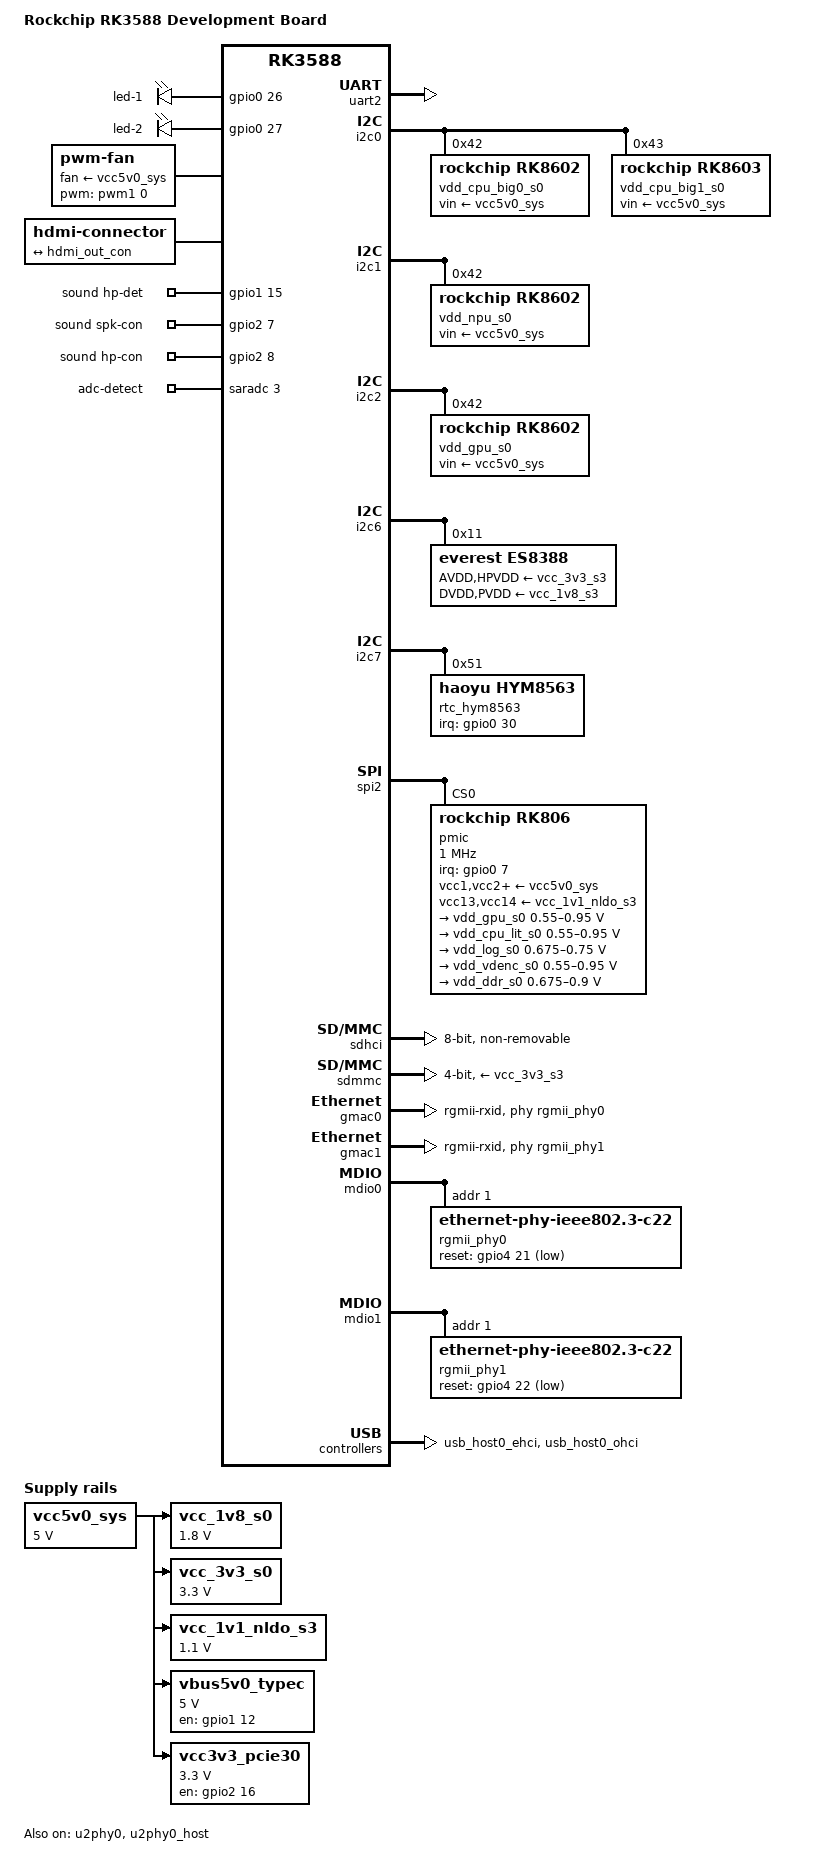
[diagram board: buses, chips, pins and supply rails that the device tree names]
// SPDX-License-Identifier: (GPL-2.0+ OR MIT)
/dts-v1/;

#include "../include/rk3588-soc.dtsi"

/ {
    model = "Rockchip RK3588 Development Board";
    compatible = "rockchip,rk3588-evb", "rockchip,rk3588";

    chosen {
        bootargs = "console=ttyS2,1500000n8 rw root=PARTUUID=614e0000-0000 rootfstype=ext4 rootwait";
    };

    vcc5v0_sys: vcc5v0-sys-regulator {
        compatible = "regulator-fixed";
        regulator-name = "vcc5v0_sys";
        regulator-always-on;
        regulator-boot-on;
        regulator-min-microvolt = <5000000>;
        regulator-max-microvolt = <5000000>;
    };

    vcc_1v8_s0: vcc-1v8-s0-regulator {
        compatible = "regulator-fixed";
        regulator-name = "vcc_1v8_s0";
        regulator-always-on;
        regulator-boot-on;
        regulator-min-microvolt = <1800000>;
        regulator-max-microvolt = <1800000>;
        vin-supply = <&vcc5v0_sys>;
    };

    vcc_3v3_s0: vcc-3v3-s0-regulator {
        compatible = "regulator-fixed";
        regulator-name = "vcc_3v3_s0";
        regulator-always-on;
        regulator-boot-on;
        regulator-min-microvolt = <3300000>;
        regulator-max-microvolt = <3300000>;
        vin-supply = <&vcc5v0_sys>;
    };

    vcc_1v1_nldo_s3: vcc-1v1-nldo-s3-regulator {
        compatible = "regulator-fixed";
        regulator-name = "vcc_1v1_nldo_s3";
        regulator-always-on;
        regulator-boot-on;
        regulator-min-microvolt = <1100000>;
        regulator-max-microvolt = <1100000>;
        vin-supply = <&vcc5v0_sys>;
    };

    vbus5v0_typec: vbus5v0-typec-regulator {
        compatible = "regulator-fixed";
        regulator-name = "vbus5v0_typec";
        regulator-min-microvolt = <5000000>;
        regulator-max-microvolt = <5000000>;
        enable-active-high;
        gpio = <&gpio1 12 0>;
        vin-supply = <&vcc5v0_sys>;
        pinctrl-names = "default";
        pinctrl-0 = <&typec5v_pwren>;
    };

    vcc3v3_pcie30: vcc3v3-pcie30-regulator {
        compatible = "regulator-fixed";
        regulator-name = "vcc3v3_pcie30";
        regulator-min-microvolt = <3300000>;
        regulator-max-microvolt = <3300000>;
        enable-active-high;
        gpios = <&gpio2 16 0>;
        startup-delay-us = <5000>;
        vin-supply = <&vcc5v0_sys>;
    };

    leds {
        compatible = "gpio-leds";
        pinctrl-names = "default";
        pinctrl-0 = <&leds_gpio>;

        led-1 {
            color = <3>; // LED_COLOR_ID_GREEN
            function = "status";
            gpios = <&gpio0 26 0>;
            linux,default-trigger = "heartbeat";
        };

        led-2 {
            color = <1>; // LED_COLOR_ID_RED
            function = "status";
            gpios = <&gpio0 27 0>;
            linux,default-trigger = "mmc0";
        };
    };

    fan: pwm-fan {
        compatible = "pwm-fan";
        #cooling-cells = <2>;
        fan-supply = <&vcc5v0_sys>;
        pwms = <&pwm1 0 50000 0>;
        cooling-levels = <0 102 170 230>;
    };

    hdmi-con {
        compatible = "hdmi-connector";
        type = "a";

        port {
            hdmi_con_in: endpoint {
                remote-endpoint = <&hdmi_out_con>;
            };
        };
    };

    sound {
        compatible = "rockchip,multicodecs-card";
        card-name = "rockchip-rk3588";
        hp-det-gpio = <&gpio1 15 0>;
        io-channels = <&saradc 3>;
        io-channel-names = "adc-detect";
        keyup-threshold-microvolt = <1800000>;
        poll-interval = <100>;
        spk-con-gpio = <&gpio2 7 0>;
        hp-con-gpio = <&gpio2 8 0>;

        rockchip,cpu = <&i2s0_8ch>;
        rockchip,codec = <&es8388>;
        rockchip,audio-routing =
            "Headphone", "LOUT1",
            "Headphone", "ROUT1",
            "Speaker", "LOUT2",
            "Speaker", "ROUT2",
            "Headphone", "Headphone Power",
            "Headphone", "Headphone Power",
            "Speaker", "Speaker Power",
            "Speaker", "Speaker Power",
            "LINPUT1", "Main Mic",
            "LINPUT2", "Main Mic",
            "RINPUT1", "Headset Mic",
            "RINPUT2", "Headset Mic";
        pinctrl-names = "default";
        pinctrl-0 = <&hp_detect>;

        play-fallback-cpu-dai = <&i2s2_2ch>;
        record-fallback-cpu-dai = <&i2s8_8ch>;
    };

    test {
        compatible = "rockchip,test";
        status = "okay";
    };
};

// Enable and configure UART2 for console
&uart2 {
    pinctrl-0 = <&uart2m1_xfer>;
    status = "okay";
};

// Configure I2C devices
&i2c0 {
    status = "okay";
    pinctrl-names = "default";
    pinctrl-0 = <&i2c0m2_xfer>;

    vdd_cpu_big0_s0: regulator@42 {
        compatible = "rockchip,rk8602";
        reg = <0x42>;
        fcs,suspend-voltage-selector = <1>;
        regulator-name = "vdd_cpu_big0_s0";
        regulator-always-on;
        regulator-boot-on;
        regulator-min-microvolt = <550000>;
        regulator-max-microvolt = <1050000>;
        regulator-ramp-delay = <2300>;
        vin-supply = <&vcc5v0_sys>;

        regulator-state-mem {
            regulator-off-in-suspend;
        };
    };

    vdd_cpu_big1_s0: regulator@43 {
        compatible = "rockchip,rk8603", "rockchip,rk8602";
        reg = <0x43>;
        fcs,suspend-voltage-selector = <1>;
        regulator-name = "vdd_cpu_big1_s0";
        regulator-always-on;
        regulator-boot-on;
        regulator-min-microvolt = <550000>;
        regulator-max-microvolt = <1050000>;
        regulator-ramp-delay = <2300>;
        vin-supply = <&vcc5v0_sys>;

        regulator-state-mem {
            regulator-off-in-suspend;
        };
    };
};

&i2c1 {
    status = "okay";
    pinctrl-names = "default";
    pinctrl-0 = <&i2c1m2_xfer>;

    vdd_npu_s0: regulator@42 {
        compatible = "rockchip,rk8602";
        reg = <0x42>;
        rockchip,suspend-voltage-selector = <1>;
        regulator-name = "vdd_npu_s0";
        regulator-always-on;
        regulator-boot-on;
        regulator-min-microvolt = <550000>;
        regulator-max-microvolt = <950000>;
        regulator-ramp-delay = <2300>;
        vin-supply = <&vcc5v0_sys>;

        regulator-state-mem {
            regulator-off-in-suspend;
        };
    };
};

&i2c2 {
    status = "okay";

    vdd_gpu_s0: regulator@42 {
        compatible = "rockchip,rk8602";
        reg = <0x42>;
        rockchip,suspend-voltage-selector = <1>;
        regulator-name = "vdd_gpu_s0";
        regulator-always-on;
        regulator-boot-on;
        regulator-min-microvolt = <550000>;
        regulator-max-microvolt = <950000>;
        regulator-ramp-delay = <2300>;
        vin-supply = <&vcc5v0_sys>;

        regulator-state-mem {
            regulator-off-in-suspend;
        };
    };
};

&i2c6 {
    status = "okay";

    es8388: audio-codec@11 {
        compatible = "everest,es8388";
        reg = <0x11>;
        clocks = <&cru 122>;
        clock-names = "mclk";
        assigned-clocks = <&cru 122>;
        assigned-clock-rates = <12288000>;
        AVDD-supply = <&vcc_3v3_s3>;
        DVDD-supply = <&vcc_1v8_s3>;
        HPVDD-supply = <&vcc_3v3_s3>;
        PVDD-supply = <&vcc_1v8_s3>;
        #sound-dai-cells = <0>;
    };
};

&i2c7 {
    status = "okay";

    rtc_hym8563: rtc@51 {
        compatible = "haoyu,hym8563";
        reg = <0x51>;
        #clock-cells = <0>;
        clock-output-names = "hym8563";
        pinctrl-names = "default";
        pinctrl-0 = <&hym8563_int>;
        interrupt-parent = <&gpio0>;
        interrupts = <30 4>;
        wakeup-source;
    };
};

// SPI Configuration
&spi2 {
    status = "okay";
    assigned-clocks = <&cru 158>;
    assigned-clock-rates = <200000000>;
    pinctrl-names = "default";
    pinctrl-0 = <&spi2m2_cs0 &spi2m2_pins>;
    num-cs = <1>;

    pmic@0 {
        compatible = "rockchip,rk806";
        spi-max-frequency = <1000000>;
        reg = <0x0>;

        interrupt-parent = <&gpio0>;
        interrupts = <7 8>;

        pinctrl-names = "default";
        pinctrl-0 = <&pmic_pins>, <&rk806_dvs1_null>,
                    <&rk806_dvs2_null>, <&rk806_dvs3_null>;

        vcc1-supply = <&vcc5v0_sys>;
        vcc2-supply = <&vcc5v0_sys>;
        vcc3-supply = <&vcc5v0_sys>;
        vcc4-supply = <&vcc5v0_sys>;
        vcc5-supply = <&vcc5v0_sys>;
        vcc6-supply = <&vcc5v0_sys>;
        vcc7-supply = <&vcc5v0_sys>;
        vcc8-supply = <&vcc5v0_sys>;
        vcc9-supply = <&vcc5v0_sys>;
        vcc10-supply = <&vcc5v0_sys>;
        vcc11-supply = <&vcc5v0_sys>;
        vcc12-supply = <&vcc5v0_sys>;
        vcc13-supply = <&vcc_1v1_nldo_s3>;
        vcc14-supply = <&vcc_1v1_nldo_s3>;
        vcca-supply = <&vcc5v0_sys>;

        gpio-controller;
        #gpio-cells = <2>;

        rk806_dvs1_null: dvs1-null-pins {
            pins = "gpio_pwrctrl2";
            function = "pin_fun0";
        };

        rk806_dvs2_null: dvs2-null-pins {
            pins = "gpio_pwrctrl2";
            function = "pin_fun0";
        };

        rk806_dvs3_null: dvs3-null-pins {
            pins = "gpio_pwrctrl3";
            function = "pin_fun0";
        };

        regulators {
            vdd_gpu_s0: dcdc-reg1 {
                regulator-boot-on;
                regulator-min-microvolt = <550000>;
                regulator-max-microvolt = <950000>;
                regulator-ramp-delay = <12500>;
                regulator-name = "vdd_gpu_s0";
                regulator-enable-ramp-delay = <400>;

                regulator-state-mem {
                    regulator-off-in-suspend;
                };
            };

            vdd_cpu_lit_s0: dcdc-reg2 {
                regulator-always-on;
                regulator-boot-on;
                regulator-min-microvolt = <550000>;
                regulator-max-microvolt = <950000>;
                regulator-ramp-delay = <12500>;
                regulator-name = "vdd_cpu_lit_s0";

                regulator-state-mem {
                    regulator-off-in-suspend;
                };
            };

            vdd_log_s0: dcdc-reg3 {
                regulator-always-on;
                regulator-boot-on;
                regulator-min-microvolt = <675000>;
                regulator-max-microvolt = <750000>;
                regulator-ramp-delay = <12500>;
                regulator-name = "vdd_log_s0";

                regulator-state-mem {
                    regulator-off-in-suspend;
                    regulator-suspend-microvolt = <750000>;
                };
            };

            vdd_vdenc_s0: dcdc-reg4 {
                regulator-always-on;
                regulator-boot-on;
                regulator-min-microvolt = <550000>;
                regulator-max-microvolt = <950000>;
                regulator-ramp-delay = <12500>;
                regulator-name = "vdd_vdenc_s0";

                regulator-state-mem {
                    regulator-off-in-suspend;
                };
            };

            vdd_ddr_s0: dcdc-reg5 {
                regulator-always-on;
                regulator-boot-on;
                regulator-min-microvolt = <675000>;
                regulator-max-microvolt = <900000>;
                regulator-ramp-delay = <12500>;
                regulator-name = "vdd_ddr_s0";

                regulator-state-mem {
                    regulator-off-in-suspend;
                    regulator-suspend-microvolt = <850000>;
                };
            };
        };
    };
};

// MMC/SD Configuration
&sdhci {
    bus-width = <8>;
    no-sdio;
    no-sd;
    non-removable;
    max-frequency = <200000000>;
    mmc-hs400-1_8v;
    mmc-hs400-enhanced-strobe;
    status = "okay";
};

&sdmmc {
    max-frequency = <150000000>;
    no-sdio;
    no-mmc;
    bus-width = <4>;
    cap-mmc-highspeed;
    cap-sd-highspeed;
    disable-wp;
    sd-uhs-sdr104;
    vmmc-supply = <&vcc_3v3_s3>;
    vqmmc-supply = <&vccio_sd_s0>;
    pinctrl-names = "default";
    pinctrl-0 = <&sdmmc_bus4 &sdmmc_clk &sdmmc_cmd &sdmmc_det>;
    status = "okay";
};

// Ethernet Configuration  
&gmac0 {
    assigned-clocks = <&cru 266>, <&cru 267>;
    assigned-clock-rates = <125000000>, <50000000>;
    assigned-clock-parents = <&cru 165>, <&cru 165>;
    clock_in_out = "output";
    phy-handle = <&rgmii_phy0>;
    phy-mode = "rgmii-rxid";
    pinctrl-names = "default";
    pinctrl-0 = <&gmac0_miim
                 &gmac0_tx_bus2
                 &gmac0_rx_bus2
                 &gmac0_rgmii_clk
                 &gmac0_rgmii_bus>;
    rx_delay = <0x00>;
    tx_delay = <0x43>;
    status = "okay";
};

&gmac1 {
    assigned-clocks = <&cru 268>, <&cru 269>;
    assigned-clock-rates = <125000000>, <50000000>;
    assigned-clock-parents = <&cru 165>, <&cru 165>;
    clock_in_out = "output";
    phy-handle = <&rgmii_phy1>;
    phy-mode = "rgmii-rxid";
    pinctrl-names = "default";
    pinctrl-0 = <&gmac1_miim
                 &gmac1_tx_bus2
                 &gmac1_rx_bus2
                 &gmac1_rgmii_clk
                 &gmac1_rgmii_bus>;
    rx_delay = <0x00>;
    tx_delay = <0x43>;
    status = "okay";
};

&mdio0 {
    rgmii_phy0: ethernet-phy@1 {
        compatible = "ethernet-phy-ieee802.3-c22";
        reg = <0x1>;
        pinctrl-names = "default";
        pinctrl-0 = <&eth_phy0_reset_pin>;
        reset-assert-us = <20000>;
        reset-deassert-us = <100000>;
        reset-gpios = <&gpio4 21 1>;
    };
};

&mdio1 {
    rgmii_phy1: ethernet-phy@1 {
        compatible = "ethernet-phy-ieee802.3-c22";
        reg = <0x1>;
        pinctrl-names = "default";
        pinctrl-0 = <&eth_phy1_reset_pin>;
        reset-assert-us = <20000>;
        reset-deassert-us = <100000>;
        reset-gpios = <&gpio4 22 1>;
    };
};

// USB Configuration
&usb_host0_ehci {
    status = "okay";
};

&usb_host0_ohci {
    status = "okay";
};

&u2phy0 {
    status = "okay";
};

&u2phy0_host {
    phy-supply = <&vcc5v0_host>;
    status = "okay";
};

// Additional pinctrl configurations
&pinctrl {
    leds {
        leds_gpio: leds-gpio {
            rockchip,pins = <0 26 0 &pcfg_pull_none>,
                            <0 27 0 &pcfg_pull_none>;
        };
    };

    hym8563 {
        hym8563_int: hym8563-int {
            rockchip,pins = <0 30 0 &pcfg_pull_up>;
        };
    };

    sound {
        hp_detect: hp-detect {
            rockchip,pins = <1 15 0 &pcfg_pull_none>;
        };
    };

    usb-typec {
        typec5v_pwren: typec5v-pwren {
            rockchip,pins = <1 12 0 &pcfg_pull_none>;
        };
    };

    pmic {
        pmic_pins: pmic_pins {
            rockchip,pins =
                <0 7 0 &pcfg_pull_up>,
                <0 20 0 &pcfg_pull_up>,
                <0 21 0 &pcfg_pull_up>;
        };
    };

    ethernet {
        eth_phy0_reset_pin: eth-phy0-reset-pin {
            rockchip,pins = <4 21 0 &pcfg_pull_none>;
        };

        eth_phy1_reset_pin: eth-phy1-reset-pin {
            rockchip,pins = <4 22 0 &pcfg_pull_none>;
        };
    };
};
